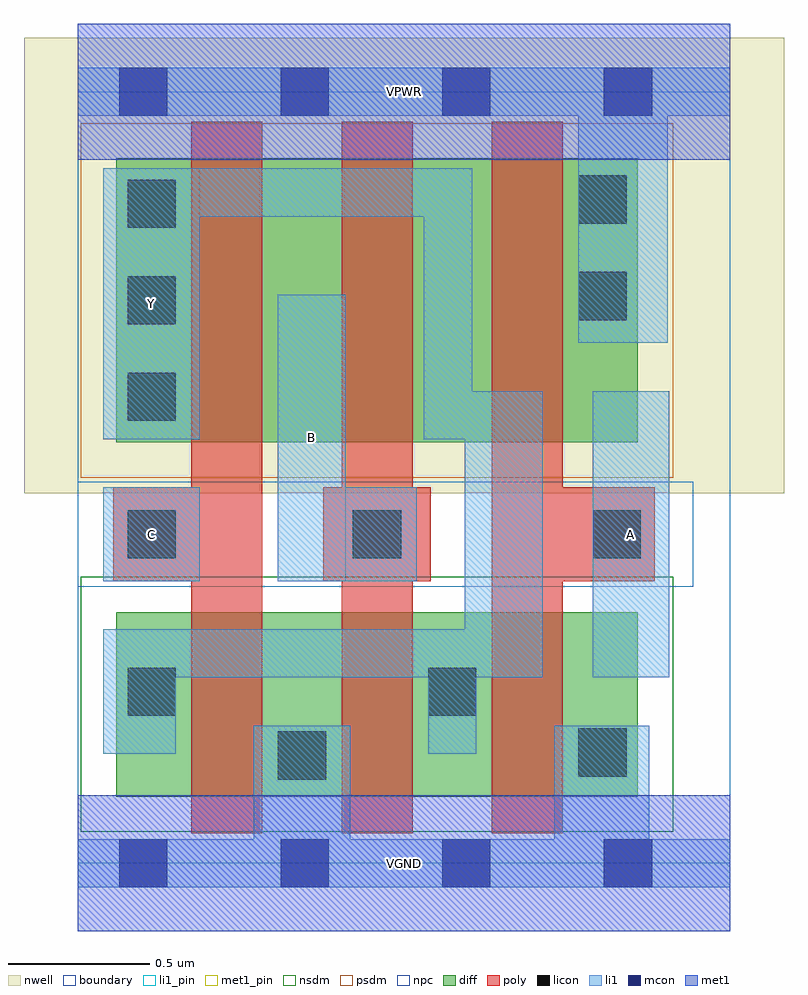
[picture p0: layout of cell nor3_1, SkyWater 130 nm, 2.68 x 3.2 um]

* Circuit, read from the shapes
.subckt nor3_1 A B C VGND VPWR Y
XM1 VGND C Y VSUBS sky130_fd_pr__nfet_01v8 w=0.65 l=0.25
XM2 Y B VGND VSUBS sky130_fd_pr__nfet_01v8 w=0.65 l=0.25
XM3 VGND A Y VSUBS sky130_fd_pr__nfet_01v8 w=0.65 l=0.25
XM4 n1 C Y n2 sky130_fd_pr__pfet_01v8 w=1 l=0.25
XM5 n3 B n1 n2 sky130_fd_pr__pfet_01v8 w=1 l=0.25
XM6 VPWR A n3 n2 sky130_fd_pr__pfet_01v8 w=1 l=0.25
.ends

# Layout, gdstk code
import gdstk
lib = gdstk.Library(unit=1e-6, precision=1e-09)
def R(c, l, rs):  # rectangles x0, y0, x1, y1
    for r in rs: c.add(gdstk.rectangle(r[:2], r[2:], *l))
def A(c, l, x, y, w, h, nx, ny, dx, dy):  # array of equal rectangles
    R(c, l, [(x+i*dx, y+j*dy, x+i*dx+w, y+j*dy+h) for i in range(nx) for j in range(ny)])
nwell = (64, 20)
diff = (65, 20)
poly = (66, 20)
licon = (66, 44)
li1_pin = (67, 16)
li1 = (67, 20)
mcon = (67, 44)
met1_pin = (68, 16)
met1 = (68, 20)
nsdm = (93, 44)
psdm = (94, 20)
npc = (95, 20)
boundary = (235, 4)

nor3_1 = lib.new_cell('nor3_1')
R(nor3_1, nwell, [(-0.19,1.305,2.49,2.91), (0,1.305,2.3,2.91)])
R(nor3_1, diff, [(0.135,0.235,1.975,0.885), (0.135,1.485,1.975,2.485)])
A(nor3_1, poly, 0.4, 0.105, 0.25, 2.51, 3, 1, 0.53, 0)
R(nor3_1, poly, [(0.125,0.995,0.65,1.325), (0.865,0.995,1.245,1.325), (1.46,0.995,2.035,1.325)])
A(nor3_1, licon, 0.175, 1.56, 0.17, 0.17, 1, 3, 0, 0.34)
R(nor3_1, licon, [(0.705,0.295,0.875,0.465), (1.765,0.305,1.935,0.475), (0.175,0.52,0.345,0.69), (1.235,0.52,1.405,0.69), (0.175,1.075,0.345,1.245), (0.97,1.075,1.14,1.245), (1.815,1.075,1.985,1.245), (1.765,1.915,1.935,2.085), (1.765,2.255,1.935,2.425)])
R(nor3_1, li1_pin, [(1.815,0.655,2.085,1.665), (0.09,0.995,0.43,1.325), (0.705,0.995,0.945,2.005), (0.09,1.495,0.43,2.45)])
R(nor3_1, li1, [(0,-0.085,2.3,0.085), (0.62,-0.085,0.96,0.485), (1.68,-0.085,2.015,0.485), (0.09,0.385,0.345,0.825), (1.235,0.385,1.405,0.825), (0.09,0.655,1.64,0.825), (1.365,0.655,1.64,1.665), (1.815,0.655,2.085,1.665), (0.09,0.995,0.43,1.325), (0.705,0.995,0.945,2.005), (0.705,0.995,1.195,1.325), (0.09,1.495,0.43,2.45), (1.22,1.495,1.39,2.45), (1.765,1.835,2.08,2.805), (0.09,2.28,1.39,2.45), (0,2.635,2.3,2.805)])
A(nor3_1, mcon, 0.145, -0.085, 0.17, 0.17, 4, 2, 0.57, 2.72)
R(nor3_1, met1_pin, [(0,-0.24,2.3,0.24), (0,2.48,2.3,2.96)])
R(nor3_1, met1, [(0,-0.24,2.3,0.24), (0,2.48,2.3,2.96)])
R(nor3_1, nsdm, [(0.01,0.11,2.1,1.01)])
R(nor3_1, psdm, [(0.01,1.36,2.1,2.61)])
R(nor3_1, npc, [(0,0.975,2.17,1.345)])
R(nor3_1, boundary, [(0,0,2.3,2.72)])
nor3_1.add(gdstk.Label('A', (1.95,1.16), layer=67, texttype=5))
nor3_1.add(gdstk.Label('B', (0.825,1.5), layer=67, texttype=5))
nor3_1.add(gdstk.Label('C', (0.26,1.16), layer=67, texttype=5))
nor3_1.add(gdstk.Label('Y', (0.26,1.972), layer=67, texttype=5))
nor3_1.add(gdstk.Label('VPWR', (1.15,2.72), layer=68, texttype=5))
nor3_1.add(gdstk.Label('VGND', (1.15,0), layer=68, texttype=5))
nor3_1.add(gdstk.Label('A', (1.95,1.16), layer=67, texttype=16))
nor3_1.add(gdstk.Label('B', (0.825,1.5), layer=67, texttype=16))
nor3_1.add(gdstk.Label('C', (0.26,1.16), layer=67, texttype=16))
nor3_1.add(gdstk.Label('Y', (0.26,1.972), layer=67, texttype=16))
nor3_1.add(gdstk.Label('VPWR', (1.15,2.72), layer=68, texttype=16))
nor3_1.add(gdstk.Label('VGND', (1.15,0), layer=68, texttype=16))

lib.write_gds('nor3_1.gds')
